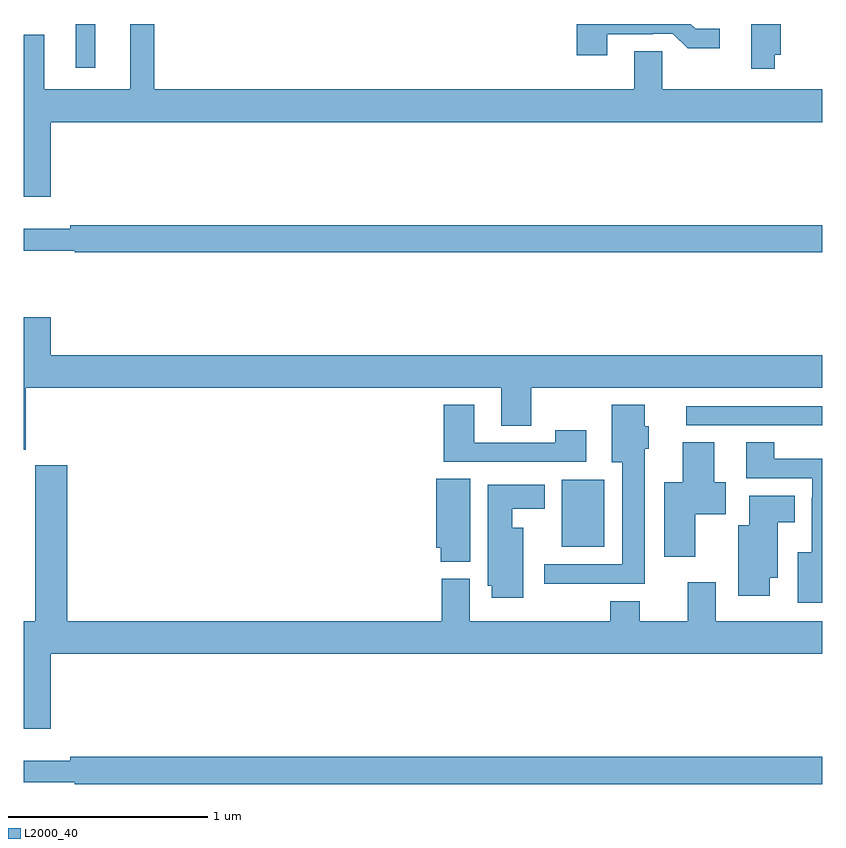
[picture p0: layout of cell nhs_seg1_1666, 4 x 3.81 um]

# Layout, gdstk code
import gdstk
lib = gdstk.Library(unit=1e-6, precision=1e-09)
def R(c, l, rs):  # rectangles x0, y0, x1, y1
    for r in rs: c.add(gdstk.rectangle(r[:2], r[2:], *l))
def P(c, l, *ps):  # polygons
    for p in ps: c.add(gdstk.Polygon(p, *l))
L2000_40 = (2000, 40)

nhs_seg1_1666 = lib.new_cell('nhs_seg1_1666')
R(nhs_seg1_1666, L2000_40, [(203.696,573.581,203.908,573.916), (204.318,574.188,205,574.284), (201.26,575.979,201.358,576.199)])
P(nhs_seg1_1666, L2000_40, [(201.136,575.708),(205,575.708),(205,575.872),(204.198,575.872),(204.198,576.062),(204.059,576.062),(204.059,575.872),(201.655,575.872),(201.655,576.199),(201.533,576.199),(201.533,575.872),(201.103,575.872),(201.103,576.145),(201,576.145),(201,575.334),(201.136,575.334)],
  [(203.923,576.147),(204.152,576.147),(204.152,576.15),(204.252,576.15),(204.325,576.077),(204.487,576.077),(204.487,576.174),(204.366,576.174),(204.341,576.199),(203.771,576.199),(203.771,576.042),(203.923,576.042)],
  [(204.761,576.044),(204.791,576.044),(204.791,576.199),(204.645,576.199),(204.645,576.198),(204.644,576.198),(204.644,575.976),(204.761,575.976)],
  [(205,575.192),(201.232,575.192),(201.232,575.173),(201,575.173),(201,575.064),(201.255,575.064),(201.255,575.056),(205,575.056)],
  [(201.01,574.376),(203.393,574.376),(203.393,574.186),(203.541,574.186),(203.541,574.376),(205,574.376),(205,574.54),(201.136,574.54),(201.136,574.729),(201,574.729),(201,574.067),(201.01,574.067)],
  [(204.112,574.071),(204.13,574.071),(204.13,574.185),(204.112,574.185),(204.112,574.291),(203.945,574.291),(203.945,574.004),(203.999,574.004),(203.999,573.492),(203.607,573.492),(203.607,573.395),(204.112,573.395)],
  [(203.818,574.165),(203.662,574.165),(203.662,574.101),(203.257,574.101),(203.257,574.291),(203.105,574.291),(203.105,574.005),(203.818,574.005)],
  [(205,574.02),(204.76,574.02),(204.76,574.103),(204.62,574.103),(204.62,573.924),(204.951,573.924),(204.951,573.827),(204.947,573.827),(204.947,573.553),(204.878,573.553),(204.878,573.299),(205,573.299)],
  [(204.364,573.742),(204.517,573.742),(204.517,573.904),(204.46,573.904),(204.46,574.103),(204.302,574.103),(204.302,573.904),(204.209,573.904),(204.209,573.531),(204.364,573.531)],
  [(201.136,573.044),(205,573.044),(205,573.208),(204.466,573.208),(204.466,573.403),(204.326,573.403),(204.326,573.208),(204.085,573.208),(204.085,573.307),(203.938,573.307),(203.938,573.208),(203.233,573.208),(203.233,573.42),(203.093,573.42),(203.093,573.208),(201.218,573.208),(201.218,573.988),(201.058,573.988),(201.058,573.208),(201,573.208),(201,572.67),(201.136,572.67)],
  [(203.236,573.92),(203.066,573.92),(203.066,573.576),(203.09,573.576),(203.09,573.505),(203.236,573.505)],
  [(203.503,573.676),(203.446,573.676),(203.446,573.77),(203.611,573.77),(203.611,573.892),(203.324,573.892),(203.324,573.384),(203.345,573.384),(203.345,573.324),(203.503,573.324)],
  [(204.736,573.425),(204.778,573.425),(204.778,573.704),(204.862,573.704),(204.862,573.835),(204.635,573.835),(204.635,573.688),(204.578,573.688),(204.578,573.336),(204.736,573.336)],
  [(205,572.528),(201.232,572.528),(201.232,572.509),(201,572.509),(201,572.4),(201.255,572.4),(201.255,572.392),(205,572.392)])

lib.write_gds('nhs_seg1_1666.gds')
